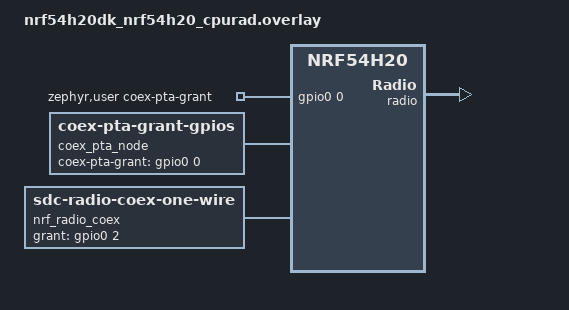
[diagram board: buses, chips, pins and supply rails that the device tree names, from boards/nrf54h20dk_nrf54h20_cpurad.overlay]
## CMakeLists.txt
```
# Copyright (c) 2021 Nordic Semiconductor ASA
#
# SPDX-License-Identifier: LicenseRef-Nordic-5-Clause
#

cmake_minimum_required(VERSION 3.20.0)

find_package(Zephyr REQUIRED HINTS $ENV{ZEPHYR_BASE})

project("radio_coex_1wire")

if(NOT CONFIG_SOC_SERIES_NRF54L AND NOT CONFIG_SOC_SERIES_NRF54H)
  message(FATAL_ERROR "This sample is only supported on the nRF54L and nRF54H series.")
endif()

# NORDIC SDK APP START
target_sources(app PRIVATE
  src/main.c
)
# NORDIC SDK APP END
```

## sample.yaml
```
sample:
  description: Bluetooth radio coexistence
  name: Bluetooth radio coexistence 1wire sample
tests:
  sample.bluetooth.radio_coex_1wire:
    sysbuild: true
    build_only: true
    integration_platforms:
      - nrf54h20dk/nrf54h20/cpurad
      - nrf54l15dk/nrf54l15/cpuapp
    platform_allow:
      - nrf54l15dk/nrf54l05/cpuapp
      - nrf54l15dk/nrf54l10/cpuapp
      - nrf54l15dk/nrf54l15/cpuapp
      - nrf54h20dk/nrf54h20/cpurad
      - nrf54lm20dk/nrf54lm20a/cpuapp
      - nrf54lm20dk/nrf54lm20b/cpuapp
      - nrf54lv10dk/nrf54lv10a/cpuapp
      - nrf54lv10dk/nrf54lv10a/cpuapp/ns
      - nrf54lc10dk/nrf54lc10a/cpuapp
      - nrf54lc10dk/nrf54lc10a/cpuapp/ns
      - nrf54ls05dk/nrf54ls05b/cpuapp
      - nrf54ls05dk/nrf54ls05a/cpuapp
    tags:
      - bluetooth
      - ci_build
      - sysbuild
      - ci_samples_bluetooth
```

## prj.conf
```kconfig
#
# Copyright (c) 2019 Nordic Semiconductor
#
# SPDX-License-Identifier: LicenseRef-Nordic-5-Clause
#

CONFIG_NCS_SAMPLES_DEFAULTS=y
CONFIG_ASSERT=y

CONFIG_BT=y
CONFIG_BT_PERIPHERAL=y
CONFIG_BT_DEVICE_NAME="Nordic_Bluetooth_1W_Coex"

CONFIG_CONSOLE_SUBSYS=y
CONFIG_CONSOLE_GETCHAR=y
CONFIG_MPSL_CX=y
CONFIG_MPSL_CX_1WIRE=y
```

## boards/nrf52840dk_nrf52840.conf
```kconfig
#
# Copyright (c) 2025 Nordic Semiconductor
#
# SPDX-License-Identifier: LicenseRef-Nordic-5-Clause
#

# Use necessary peripherals
CONFIG_NRFX_GPPI=y
```

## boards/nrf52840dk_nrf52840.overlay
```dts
/* Copyright (c) 2021 Nordic Semiconductor ASA
 *
 * SPDX-License-Identifier: LicenseRef-Nordic-5-Clause
 */

/ {
	zephyr,user {
		coex-pta-grant-gpios = <&gpio0 26 GPIO_ACTIVE_HIGH>;
	};

	nrf_radio_coex: radio_coex_one_wire {
		status = "okay";
		compatible = "sdc-radio-coex-one-wire";
		grant-gpios = <&gpio0 2 GPIO_ACTIVE_HIGH>;
		concurrency-mode = <0>;
	};

	aliases {
		egu = &egu0;
	};
};

&radio {
	coex = <&nrf_radio_coex>;
};
```

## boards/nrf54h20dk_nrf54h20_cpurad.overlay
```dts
/*
 * Copyright (c) 2024 Nordic Semiconductor ASA
 *
 * SPDX-License-Identifier: LicenseRef-Nordic-5-Clause
 */

/ {
	zephyr,user {
		coex-pta-grant-gpios = <&gpio0 0 GPIO_ACTIVE_HIGH>;
	};

	coex_pta_node {
		status = "okay";
		coex-pta-grant-gpios = <&gpio0 0 GPIO_ACTIVE_HIGH>;
		compatible = "coex-pta-grant-gpios";
	};

	nrf_radio_coex: radio_coex_one_wire {
		status = "okay";
		compatible = "sdc-radio-coex-one-wire";
		grant-gpios = <&gpio0 2 GPIO_ACTIVE_HIGH>;
		concurrency-mode = <0>;
	};

	aliases {
		egu = &egu020;
	};
};

&gpio0 {
	status = "okay";
};

&gpiote130 {
	status = "okay";
	owned-channels = <0>;
};

&radio {
	coex = <&nrf_radio_coex>;
};
```

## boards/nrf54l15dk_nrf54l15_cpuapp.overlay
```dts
/*
 * Copyright (c) 2024 Nordic Semiconductor ASA
 *
 * SPDX-License-Identifier: LicenseRef-Nordic-5-Clause
 */

/ {
	zephyr,user {
		coex-pta-grant-gpios = <&gpio0 0 GPIO_ACTIVE_HIGH>;
	};

	nrf_radio_coex: radio_coex_one_wire {
		status = "okay";
		compatible = "sdc-radio-coex-one-wire";
		grant-gpios = <&gpio0 2 GPIO_ACTIVE_HIGH>;
		concurrency-mode = <0>;
	};

	aliases {
		egu = &egu10;
	};
};

&gpio0 {
	status = "okay";
};

&gpiote30 {
	status = "okay";
};

&radio {
	coex = <&nrf_radio_coex>;
};
```

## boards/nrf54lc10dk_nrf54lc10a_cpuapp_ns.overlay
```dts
/*
 * Copyright (c) 2026 Nordic Semiconductor ASA
 *
 * SPDX-License-Identifier: LicenseRef-Nordic-5-Clause
 */

/ {
	zephyr,user {
		coex-pta-grant-gpios = <&gpio1 4 GPIO_ACTIVE_HIGH>;
	};

	nrf_radio_coex: radio_coex_one_wire {
		status = "okay";
		compatible = "sdc-radio-coex-one-wire";
		grant-gpios = <&gpio1 5 GPIO_ACTIVE_HIGH>;
		concurrency-mode = <0>;
	};

	aliases {
		egu = &egu10;
	};
};

&gpio1 {
	status = "okay";
};

&gpiote20 {
	status = "okay";
};

&radio {
	coex = <&nrf_radio_coex>;
};
```

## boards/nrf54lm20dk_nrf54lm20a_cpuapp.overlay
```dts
/*
 * Copyright (c) 2025 Nordic Semiconductor ASA
 *
 * SPDX-License-Identifier: LicenseRef-Nordic-5-Clause
 */

/ {
	zephyr,user {
		coex-pta-grant-gpios = <&gpio0 0 GPIO_ACTIVE_HIGH>;
	};

	nrf_radio_coex: radio_coex_one_wire {
		status = "okay";
		compatible = "sdc-radio-coex-one-wire";
		grant-gpios = <&gpio0 2 GPIO_ACTIVE_HIGH>;
		concurrency-mode = <0>;
	};

	aliases {
		egu = &egu10;
	};
};

&gpio0 {
	status = "okay";
};

&gpiote30 {
	status = "okay";
};

&radio {
	coex = <&nrf_radio_coex>;
};
```

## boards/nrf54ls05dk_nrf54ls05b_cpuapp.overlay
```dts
/*
 * Copyright (c) 2026 Nordic Semiconductor ASA
 *
 * SPDX-License-Identifier: LicenseRef-Nordic-5-Clause
 */

/ {
	zephyr,user {
		coex-pta-grant-gpios = <&gpio0 0 GPIO_ACTIVE_HIGH>;
	};

	nrf_radio_coex: radio_coex_one_wire {
		status = "okay";
		compatible = "sdc-radio-coex-one-wire";
		grant-gpios = <&gpio0 2 GPIO_ACTIVE_HIGH>;
		concurrency-mode = <0>;
	};

	aliases {
		egu = &egu10;
	};
};

&gpio0 {
	status = "okay";
};

&gpiote30 {
	status = "okay";
};

&radio {
	coex = <&nrf_radio_coex>;
};
```

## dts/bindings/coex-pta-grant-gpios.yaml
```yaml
# Copyright (c) 2024 Nordic Semiconductor ASA
# SPDX-License-Identifier: LicenseRef-Nordic-5-Clause

description: |
    Coexistence PTA (Packet Traffic Arbiter) grant GPIOs

include: base.yaml

properties:
  coex-pta-grant-gpios:
    type: phandle-array
    description: |
      A phandle to the GPIO controller that provides the GRANT signal.
      The GPIO controller must be defined in the device tree.
    required: true

compatible: "coex-pta-grant-gpios"
```

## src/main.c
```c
/*
 * Copyright (c) 2021 Nordic Semiconductor ASA
 *
 * SPDX-License-Identifier: LicenseRef-Nordic-5-Clause
 */

#include <stddef.h>
#include <zephyr/sys/printk.h>
#include <zephyr/sys/__assert.h>
#include <zephyr/sys/atomic.h>

#include <zephyr/bluetooth/bluetooth.h>
#include <zephyr/console/console.h>
#include <zephyr/drivers/gpio.h>

#include <hal/nrf_radio.h>
#include <hal/nrf_gpio.h>
#include <hal/nrf_egu.h>

#if defined(PPI_PRESENT)
#include <helpers/nrfx_gppi.h>
#endif

/* Predefined channels for radio events. */
#include <protocol/mpsl_dppi_protocol_api.h>

#define EGU_NODE DT_ALIAS(egu)
#define NRF_EGU ((NRF_EGU_Type *) DT_REG_ADDR(EGU_NODE))
#define EGU_EVENT_ID 4
#define EGU_TASK NRFX_CONCAT(NRF_EGU_, TASK_TRIGGER, EGU_EVENT_ID)
#define EGU_INT NRFX_CONCAT(NRF_EGU_, INT_TRIGGERED, EGU_EVENT_ID)
#define EGU_EVENT NRFX_CONCAT(NRF_EGU_, EVENT_TRIGGERED, EGU_EVENT_ID)

#if DT_NODE_HAS_STATUS(DT_PHANDLE(DT_NODELABEL(radio), coex), okay)
#define COEX_NODE DT_PHANDLE(DT_NODELABEL(radio), coex)
#else
#define COEX_NODE DT_INVALID_NODE
#error No enabled coex nodes registered in DTS.
#endif

#define ZEPHYR_USER_NODE DT_PATH(zephyr_user)
#if DT_NODE_HAS_PROP(ZEPHYR_USER_NODE, coex_pta_grant_gpios)
#define APP_GRANT_GPIO_PIN NRF_DT_GPIOS_TO_PSEL(ZEPHYR_USER_NODE, coex_pta_grant_gpios)
#else
#error "Unsupported board: see README and check /zephyr,user node"
#define APP_GRANT_GPIO_PIN 0
#endif

#define APP_GRANT_ACTIVE_LOW                                                                       \
	(GPIO_ACTIVE_LOW & DT_GPIO_FLAGS(COEX_NODE, grant_gpios) ? true : false)

#define DEVICE_NAME CONFIG_BT_DEVICE_NAME
#define DEVICE_NAME_LEN (sizeof(DEVICE_NAME) - 1)

static const struct bt_data ad[] = {
	BT_DATA_BYTES(BT_DATA_FLAGS, (BT_LE_AD_GENERAL | BT_LE_AD_NO_BREDR)),
	BT_DATA(BT_DATA_NAME_COMPLETE, DEVICE_NAME, DEVICE_NAME_LEN),
};

static atomic_t counter;

static void print_welcome_message(void)
{
	if (console_init()) {
		__ASSERT(false, "Failed to initialise console");
	}

	printk("-----------------------------------------------------\n");
	printk("This sample illustrates the 1Wire coex interface\n");
	printk("The number of radio events is printed every second.\n");
	printk("\n");
	printk("Press a key to change the state of the grant line:\n");
	if (APP_GRANT_ACTIVE_LOW) {
		printk("'g' to set the grant line to low and allow radio activity\n");
		printk("'d' to set the grant line to high and deny radio activity\n");
	} else {
		printk("'g' to set the grant line to high and allow radio activity\n");
		printk("'d' to set the grant line to low and deny radio activity\n");
	}
	printk("-----------------------------------------------------\n");
}

static void check_input(void)
{
	char input_char;

	input_char = console_getchar();

	if ((input_char == 'g') ^ APP_GRANT_ACTIVE_LOW) {
		nrf_gpio_pin_set(APP_GRANT_GPIO_PIN);
		printk("Current state is: Grant every request\n");
	} else if ((input_char == 'd') ^ APP_GRANT_ACTIVE_LOW) {
		nrf_gpio_pin_clear(APP_GRANT_GPIO_PIN);
		printk("Current state is: Deny every request\n");
	} else {
		return;
	}
}

static void egu_handler(const void *context)
{
	atomic_inc(&counter);

	nrf_egu_event_clear(NRF_EGU, EGU_EVENT);
}

static void console_print_thread(void)
{
	while (1) {
		atomic_val_t val;

		val = atomic_set(&counter, 0);
		printk("Number of radio events in the last second: %ld\n", val);

		k_sleep(K_MSEC(1000));
	}
}

static void setup_radio_event_counter(void)
{
#if defined(PPI_PRESENT)
	nrfx_gppi_handle_t handle;
	uint32_t eep = nrf_radio_event_address_get(NRF_RADIO, NRF_RADIO_EVENT_READY);
	uint32_t tep = nrf_egu_task_address_get(NRF_EGU, EGU_TASK);
	int rv;

	rv = nrfx_gppi_conn_alloc(eep, tep, &handle);
	(void)rv;
	__ASSERT(rv == 0, "Failed to allocate PPI channel.");
	nrfx_gppi_conn_enable(handle);
#else
	/* Radio events are published on predefined channels. */
	nrf_egu_subscribe_set(NRF_EGU, EGU_TASK, MPSL_DPPI_RADIO_PUBLISH_READY_CHANNEL_IDX);
#endif

	IRQ_DIRECT_CONNECT(DT_IRQN(EGU_NODE), 5, egu_handler, 0);
	nrf_egu_int_enable(NRF_EGU, EGU_INT);
	NVIC_EnableIRQ(DT_IRQN(EGU_NODE));
}

static void setup_grant_pin(void)
{
	nrf_gpio_cfg_output(APP_GRANT_GPIO_PIN);
	if (APP_GRANT_ACTIVE_LOW) {
		nrf_gpio_pin_clear(APP_GRANT_GPIO_PIN);
	} else {
		nrf_gpio_pin_set(APP_GRANT_GPIO_PIN);
	}
}

int main(void)
{
	printk("Starting Radio Coex Demo 1wire on board %s\n", CONFIG_BOARD);

	if (bt_enable(NULL)) {
		printk("Bluetooth init failed");
		return 0;
	}
	printk("Bluetooth initialized\n");

	setup_grant_pin();
	setup_radio_event_counter();

	if (bt_le_adv_start(BT_LE_ADV_NCONN, ad, ARRAY_SIZE(ad), NULL, 0)) {
		printk("Advertising failed to start");
		return 0;
	}
	printk("Advertising started\n");

	print_welcome_message();

	while (1) {
		k_sleep(K_MSEC(100));
		check_input();
	}
}

K_THREAD_DEFINE(console_print_thread_id, CONFIG_MAIN_STACK_SIZE, console_print_thread, NULL, NULL,
		NULL, K_LOWEST_APPLICATION_THREAD_PRIO, 0, 0);
```
